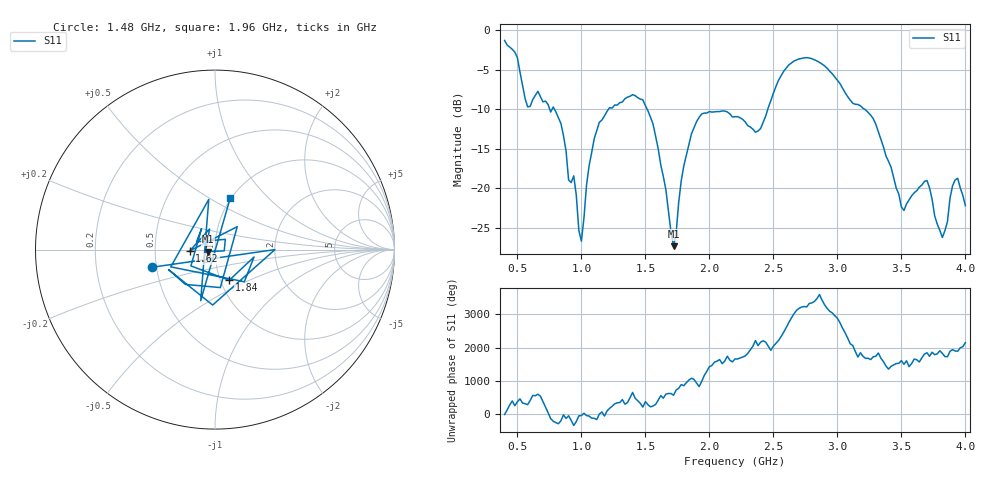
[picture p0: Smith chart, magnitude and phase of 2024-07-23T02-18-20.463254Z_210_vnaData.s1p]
!Created with skrf (http://scikit-rf.org).
# Hz S RI R 50.0
!freq ReS11 ImS11
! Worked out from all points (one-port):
!   181 points, 400 MHz to 4 GHz, reference 50 ohm
!   lowest |S11| = -27.3 dB at 1.72 GHz (marker M1), VSWR 1.09, Z = 46 - j1.02 ohm
!   |S11| at or under -10 dB: 790 MHz to 1.211 GHz (421 MHz wide, 42.1 % of centre); 1.514 GHz to 2.456 GHz (941.7 MHz wide, 47.4 % of centre); 3.214 GHz to end of sweep (the widest 3 of 4)
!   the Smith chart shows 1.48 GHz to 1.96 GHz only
!   S11 on the Smith chart (normalised r, x): 1.48 GHz: 0.47, -0.11; 1.62 GHz: 0.75, -0.01; 1.84 GHz: 1.10, -0.39; 1.96 GHz: 0.99, +0.62
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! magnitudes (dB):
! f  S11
! 400 MHz  -1.3
! 500 MHz  -3.5
! 580 MHz  -9.7
! 660 MHz  -7.7
! 860 MHz  -13.4
! 900 MHz  -18.9
! 940 MHz  -18.4
! 1 GHz  -26.7
! 1.1 GHz  -13.7
! 1.3 GHz  -9.2
! 1.48 GHz  -8.8
! 1.62 GHz  -17.0
! 1.72 GHz  -27.3
! 1.76 GHz  -21.8
! 1.84 GHz  -14.5
! 1.96 GHz  -10.5
! 2.2 GHz  -10.9
! 2.4 GHz  -12.4
! 2.66 GHz  -3.9
! 2.88 GHz  -4.3
! 3.1 GHz  -8.8
! 3.28 GHz  -11.2
! 3.5 GHz  -22.4
! 3.56 GHz  -21.5
! 3.7 GHz  -19.0
! 3.82 GHz  -26.2
! 3.92 GHz  -18.9
! 4 GHz  -22.2
